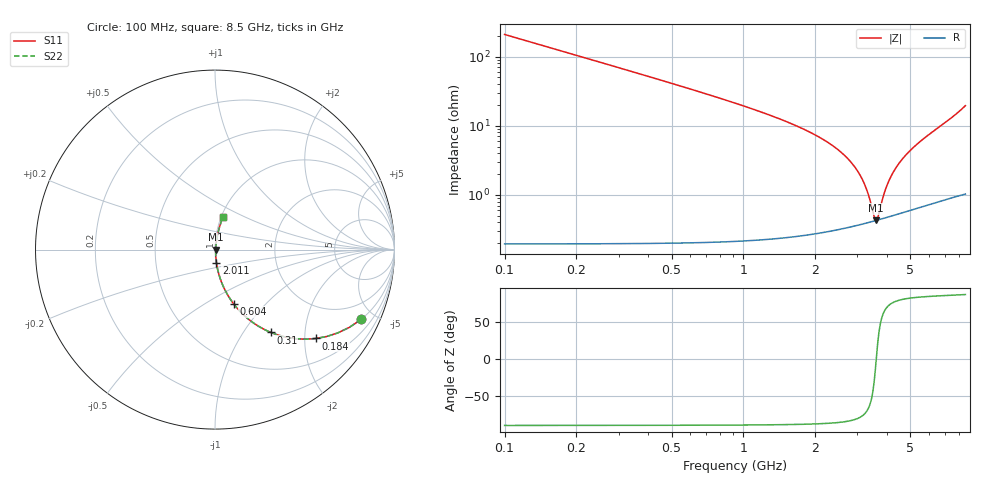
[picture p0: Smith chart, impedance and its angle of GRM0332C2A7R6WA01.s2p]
!Murata Part Number: GRM0332C2A7R6WA01
!These Parameters are Measured in Series Mode Connection
!Data Generated on Mar 30, 2021
!  o--ll--o
!Port1  Port2
!  o------o
!Operation Temp=25[degC], DC Bias Voltage=0[V]
!Freq. Start=100[MHz] Stop=9[GHz] 401[Steps]
# Hz S RI R 50
!Freq.(Hz) S11(Real) S11(Imag) S21(Real) S21(Imag) S12(Real) S12(Imag) S22(Real) S22(Imag)
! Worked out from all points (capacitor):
!   401 points, 100 MHz to 8.5 GHz, reference 50 ohm
!   read as one part in series: C = 7.6 pF near 142 MHz
!   lowest |Z| = 429 mohm at 3.586 GHz (marker M1)
!   series resonance near 3.6 GHz, so ESL is about 260 pH
!   S11 on the Smith chart (normalised r, x): 100 MHz: 1.00, -4.19; 184 MHz: 1.00, -2.27; 310 MHz: 1.00, -1.34; 604 MHz: 1.00, -0.67; 2.011 GHz: 1.01, -0.15; 8.5 GHz: 1.02, +0.39
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1e8  0.8139 -0.3888  0.1861 0.3888  0.1861 0.3888  0.8139 -0.3888
1.84e8  0.563 -0.4952  0.437 0.4952  0.437 0.4952  0.563 -0.4952
3.1e8  0.3108 -0.4614  0.6892 0.4614  0.6892 0.4614  0.3108 -0.4614
4.36e8  0.1842 -0.3856  0.8158 0.3856  0.8158 0.3856  0.1842 -0.3856
6.04e8  0.1036 -0.3018  0.8964 0.3018  0.8964 0.3018  0.1036 -0.3018
9.82e8  0.0397 -0.1898  0.9603 0.1898  0.9603 0.1898  0.0397 -0.1898
1.507e9  0.0155 -0.1135  0.9845 0.1135  0.9845 0.1135  0.0155 -0.1135
2.011e9  0.00796 -0.072  0.992 0.072  0.992 0.072  0.00796 -0.072
2.536e9  0.00497 -0.0423  0.995 0.0423  0.995 0.0423  0.00497 -0.0423
2.914e9  0.00418 -0.0254  0.9958 0.0254  0.9958 0.0254  0.00418 -0.0254
3.229e9  0.00402 -0.0131  0.996 0.0131  0.996 0.0131  0.00402 -0.0131
3.355e9  0.00406 -0.00852  0.9959 0.00852  0.9959 0.00852  0.00406 -0.00852
3.523e9  0.00418 -0.00262  0.9958 0.00262  0.9958 0.00262  0.00418 -0.00262
3.586e9  0.00424 -0.000467  0.9958 0.000467  0.9958 0.000467  0.00424 -0.000467
3.649e9  0.00432 0.00166  0.9957 -0.00166  0.9957 -0.00166  0.00432 0.00166
3.838e9  0.00459 0.00787  0.9954 -0.00787  0.9954 -0.00787  0.00459 0.00787
3.964e9  0.00482 0.0119  0.9952 -0.0119  0.9952 -0.0119  0.00482 0.0119
4.3e9  0.00558 0.0223  0.9944 -0.0223  0.9944 -0.0223  0.00558 0.0223
4.867e9  0.00733 0.0392  0.9927 -0.0392  0.9927 -0.0392  0.00733 0.0392
5.707e9  0.011 0.0643  0.989 -0.0643  0.989 -0.0643  0.011 0.0643
7.114e9  0.0215 0.1126  0.9785 -0.1126  0.9785 -0.1126  0.0215 0.1126
8.5e9  0.0458 0.1843  0.9542 -0.1843  0.9542 -0.1843  0.0458 0.1843
